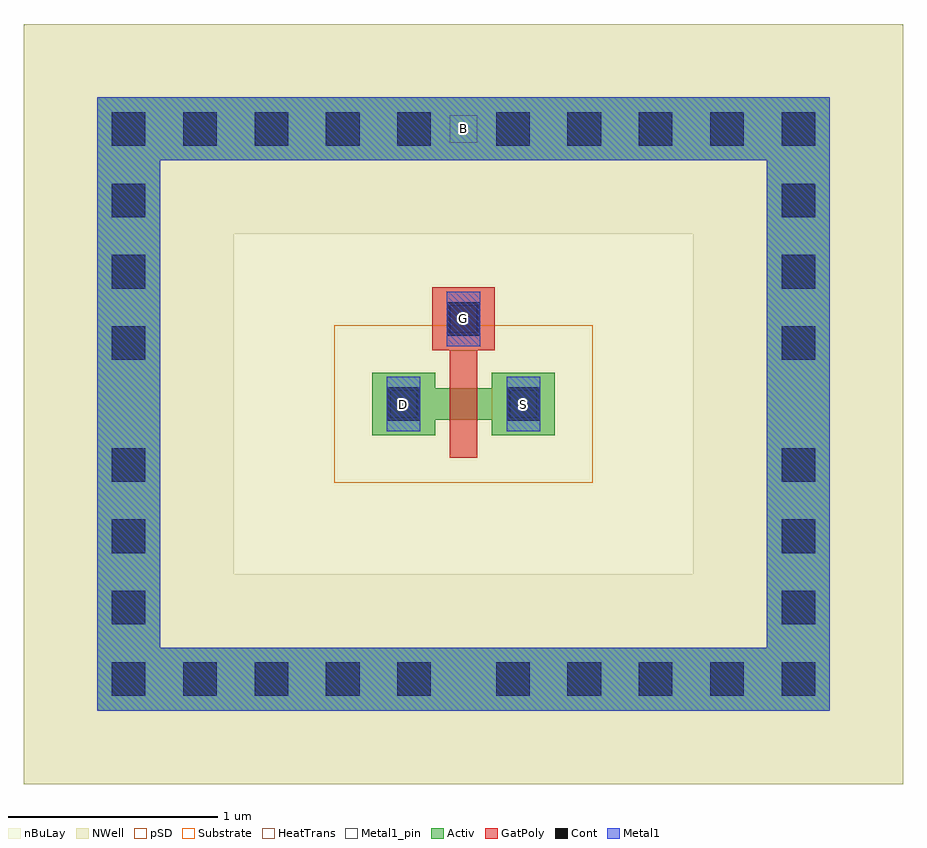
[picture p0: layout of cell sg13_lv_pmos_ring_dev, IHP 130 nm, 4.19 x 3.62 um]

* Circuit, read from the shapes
.subckt sg13_lv_pmos_ring_dev B D G S
XM1 S G D B sg13_lv_pmos w=0.15u l=0.13u
.ends

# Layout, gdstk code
from math import pi, radians
import gdstk
lib = gdstk.Library(unit=1e-6, precision=5e-09)
def R(c, l, rs):  # rectangles x0, y0, x1, y1
    for r in rs: c.add(gdstk.rectangle(r[:2], r[2:], *l))
def A(c, l, x, y, w, h, nx, ny, dx, dy):  # array of equal rectangles
    R(c, l, [(x+i*dx, y+j*dy, x+i*dx+w, y+j*dy+h) for i in range(nx) for j in range(ny)])
def P(c, l, *ps):  # polygons
    for p in ps: c.add(gdstk.Polygon(p, *l))
Activ = (1, 0)
GatPoly = (5, 0)
Cont = (6, 0)
Metal1 = (8, 0)
Metal1_pin = (8, 2)
pSD = (14, 0)
NWell = (31, 0)
nBuLay = (32, 0)
Substrate = (40, 0)
HeatTrans = (51, 0)

pmos = lib.new_cell('pmos')
R(pmos, Activ, [(-1.31,-1.01,-1.01,1.31), (1.88,-1.01,2.18,1.31), (0,0,0.3,0.3), (0.57,0,0.87,0.3), (0,0.075,0.87,0.225), (-1.31,1.31,2.18,1.61)])
P(pmos, Activ, [(-1.31,-1.31),(-1.31,1.31),(-1.01,1.31),(-1.01,-1.01),(1.88,-1.01),(1.88,1.31),(-1.31,1.31),(-1.31,1.61),(2.18,1.61),(2.18,-1.31)])
R(pmos, GatPoly, [(0.37,-0.105,0.5,0.405), (0.37,-0.105,0.5,0.405)])
A(pmos, Cont, -1.24, -1.24, 0.16, 0.16, 5, 2, 0.34, 2.62)
A(pmos, Cont, 0.59, -1.24, 0.16, 0.16, 5, 2, 0.34, 2.62)
A(pmos, Cont, -1.24, -0.9, 0.16, 0.16, 1, 3, 0, 0.34)
A(pmos, Cont, 1.95, -0.9, 0.16, 0.16, 1, 3, 0, 0.34)
A(pmos, Cont, -1.24, 0.36, 0.16, 0.16, 1, 3, 0, 0.34)
A(pmos, Cont, 1.95, 0.36, 0.16, 0.16, 1, 3, 0, 0.34)
R(pmos, Cont, [(0.07,0.07,0.23,0.23), (0.64,0.07,0.8,0.23)])
R(pmos, Metal1, [(-1.31,-1.31,2.18,-1.01), (-1.31,-1.01,-1.01,1.31), (1.88,-1.01,2.18,1.31), (0.07,0.02,0.23,0.28), (0.07,0.02,0.23,0.28), (0.64,0.02,0.8,0.28), (0.64,0.02,0.8,0.28), (-1.31,1.31,2.18,1.61)])
R(pmos, pSD, [(-0.18,-0.225,1.05,0.525)])
R(pmos, NWell, [(-1.66,-1.66,2.53,1.96), (-0.31,-0.31,1.18,0.61)])
R(pmos, nBuLay, [(-1.66,-0.66,-0.66,0.96), (1.53,-0.66,2.53,0.96), (-1.66,0.96,2.53,1.96)])
P(pmos, nBuLay, [(-1.66,-1.66),(-1.66,0.96),(-0.66,0.96),(-0.66,-0.66),(1.53,-0.66),(1.53,0.96),(-1.66,0.96),(-1.66,1.96),(2.53,1.96),(2.53,-1.66)])
R(pmos, Substrate, [(0.57,0,0.87,0.3)])
R(pmos, HeatTrans, [(0.37,-0.105,0.5,0.405)])
pmos.add(gdstk.Label('pmos', (0.435,0.15), layer=63, texttype=0))
pmos.add(gdstk.Label('well', (0.435,-1.16), layer=63, texttype=0))
pmos.add(gdstk.Label('pmos', (0.435,0.15), layer=51, texttype=0))

via = lib.new_cell('Via')
R(via, GatPoly, [(-0.15,-0.15,0.15,0.15)])
R(via, Cont, [(-0.08,-0.08,0.08,0.08)])
R(via, Metal1, [(-0.13,-0.08,0.13,0.08)])

sg13_lv_pmos_ring_dev = lib.new_cell('sg13_lv_pmos_ring_dev')
R(sg13_lv_pmos_ring_dev, Metal1_pin, [(0.085,0.085,0.215,0.215), (0.655,0.085,0.785,0.215), (0.37,0.49,0.5,0.62), (0.37,1.395,0.5,1.525)])
sg13_lv_pmos_ring_dev.add(gdstk.Reference(pmos, (0,0)))
sg13_lv_pmos_ring_dev.add(gdstk.Reference(via, (0.435,0.555), rotation=3*pi/2))
sg13_lv_pmos_ring_dev.add(gdstk.Label('B', (0.435,1.46), layer=8, texttype=25))
sg13_lv_pmos_ring_dev.add(gdstk.Label('D', (0.15,0.15), layer=8, texttype=25))
sg13_lv_pmos_ring_dev.add(gdstk.Label('S', (0.72,0.15), layer=8, texttype=25))
sg13_lv_pmos_ring_dev.add(gdstk.Label('G', (0.435,0.555), layer=8, texttype=25))

lib.write_gds('sg13_lv_pmos_ring_dev.gds')
